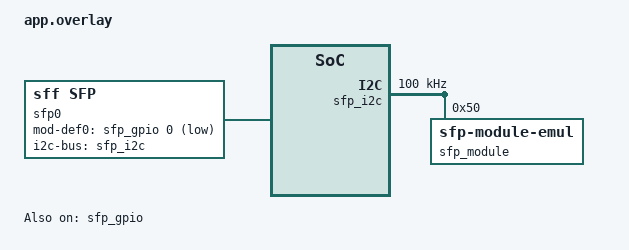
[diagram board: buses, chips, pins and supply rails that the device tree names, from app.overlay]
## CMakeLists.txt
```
# Copyright The Zephyr Project Contributors
#
# SPDX-License-Identifier: Apache-2.0

cmake_minimum_required(VERSION 3.20.0)
find_package(Zephyr REQUIRED HINTS $ENV{ZEPHYR_BASE})
project(sfp)

target_sources(app PRIVATE src/main.c)
```

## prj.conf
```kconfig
CONFIG_ZTEST=y
CONFIG_I2C=y
CONFIG_I2C_EMUL=y
CONFIG_EMUL=y
CONFIG_GPIO=y
CONFIG_GPIO_EMUL=y

CONFIG_SFP=y
CONFIG_SFP_SFF8472=y
CONFIG_EMUL_SFF8472=y

CONFIG_SFP_SHELL=y
CONFIG_SHELL=y
CONFIG_SHELL_BACKEND_SERIAL=n
CONFIG_SHELL_BACKEND_DUMMY=y
```

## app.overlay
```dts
/*
 * Copyright The Zephyr Project Contributors
 *
 * SPDX-License-Identifier: Apache-2.0
 */

#include <zephyr/dt-bindings/gpio/gpio.h>
#include <zephyr/dt-bindings/i2c/i2c.h>

/ {
	sfp0: sfp-cage {
		compatible = "sff,sfp";
		i2c-bus = <&sfp_i2c>;
		mod-def0-gpios = <&sfp_gpio 0 GPIO_ACTIVE_LOW>;
		status = "okay";
	};

	sfp_i2c: i2c@100 {
		compatible = "zephyr,i2c-emul-controller";
		reg = <0x100 4>;
		clock-frequency = <I2C_BITRATE_STANDARD>;
		#address-cells = <1>;
		#size-cells = <0>;
		status = "okay";

		/* the module plugged into the cage */
		sfp_module: sfp-module@50 {
			compatible = "zephyr,sfp-module-emul";
			reg = <0x50>;
			status = "okay";
		};
	};

	sfp_gpio: gpio@200 {
		compatible = "zephyr,gpio-emul";
		reg = <0x200 4>;
		gpio-controller;
		#gpio-cells = <2>;
		ngpios = <8>;
		status = "okay";
	};
};
```

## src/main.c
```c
/*
 * Copyright The Zephyr Project Contributors
 *
 * SPDX-License-Identifier: Apache-2.0
 */

#include <string.h>

#include <zephyr/device.h>
#include <zephyr/drivers/emul.h>
#include <zephyr/drivers/gpio/gpio_emul.h>
#include <zephyr/drivers/sfp.h>
#include <zephyr/sff/sff8472.h>
#include <zephyr/shell/shell.h>
#include <zephyr/shell/shell_dummy.h>
#include <zephyr/sys/util.h>
#include <zephyr/ztest.h>

#include "emul_sff8472.h"

#define SFP_NODE DT_NODELABEL(sfp0)

static const struct device *const sfp_dev = DEVICE_DT_GET(SFP_NODE);
static const struct emul *const module_emul = EMUL_DT_GET(DT_NODELABEL(sfp_module));
static const struct device *const presence_port = DEVICE_DT_GET(DT_NODELABEL(sfp_gpio));
static const gpio_pin_t presence_pin = DT_GPIO_PIN(SFP_NODE, mod_def0_gpios);

/* MOD_DEF0 is grounded by an inserted module (active low). */
static void set_module_present(bool present)
{
	zassert_ok(gpio_emul_input_set(presence_port, presence_pin, present ? 0 : 1));
}

static void set_diag_mon_type(uint8_t value)
{
	zassert_ok(emul_sff8472_set_byte(module_emul, false, SFF8472_A0_DIAG_MON_TYPE, value));
}

static void *sfp_setup(void)
{
	const struct shell *sh = shell_backend_dummy_get_ptr();

	if (IS_ENABLED(CONFIG_USERSPACE)) {
		k_object_access_all_grant(sfp_dev);
	}

	WAIT_FOR(shell_ready(sh), 20000, k_msleep(1));
	zassert_true(shell_ready(sh), "dummy shell backend not ready");

	return NULL;
}

static void sfp_after(void *fixture)
{
	ARG_UNUSED(fixture);

	set_module_present(true);
	emul_sff8472_reset(module_emul);
}

ZTEST(sfp, test_device_ready)
{
	zassert_true(device_is_ready(sfp_dev));
}

ZTEST_USER(sfp, test_read_id)
{
	struct sff8472_id id;

	zassert_ok(sfp_read_id(sfp_dev, &id));
	zassert_equal(id.identifier, SFF8472_ID_SFP);
	zassert_equal(id.connector, 0x07U);
	zassert_equal(id.wavelength_nm, 850U);
	zassert_equal(id.br_nominal_mbd, 10300U);
	zassert_equal(strcmp(id.vendor_name, "ACME PHOTONICS"), 0, "got '%s'", id.vendor_name);
	zassert_equal(strcmp(id.vendor_pn, "ACME-10G-SR"), 0, "got '%s'", id.vendor_pn);
	zassert_equal(strcmp(id.vendor_sn, "SN12345678"), 0, "got '%s'", id.vendor_sn);
	zassert_true(id.ddm_supported);
	zassert_true(id.ddm_internally_calibrated);
}

ZTEST_USER(sfp, test_read_diagnostics)
{
	struct sff8472_diagnostics diag;

	zassert_ok(sfp_read_diagnostics(sfp_dev, &diag));
	zassert_equal(diag.temp_mdegc, 45500, "got %d", diag.temp_mdegc);
	zassert_equal(diag.vcc_uv, 3300000U, "got %u", diag.vcc_uv);
	zassert_equal(diag.tx_bias_ua, 6500U, "got %u", diag.tx_bias_ua);
	zassert_equal(diag.tx_power_nw, 500000U, "got %u", diag.tx_power_nw);
	zassert_equal(diag.rx_power_nw, 400000U, "got %u", diag.rx_power_nw);
	zassert_equal(diag.alarm_flags,
		      SFF8472_FLAG_TEMP_HIGH | SFF8472_FLAG_TX_BIAS_HIGH |
		      SFF8472_FLAG_RX_POWER_LOW,
		      "got 0x%04x", diag.alarm_flags);
	zassert_equal(diag.warning_flags, SFF8472_FLAG_VCC_LOW, "got 0x%04x", diag.warning_flags);
}

ZTEST(sfp, test_empty_cage)
{
	struct sff8472_id id;
	struct sff8472_diagnostics diag;

	set_module_present(false);
	zassert_equal(sfp_read_id(sfp_dev, &id), -ENODEV);
	zassert_equal(sfp_read_diagnostics(sfp_dev, &diag), -ENODEV);

	set_module_present(true);
	zassert_ok(sfp_read_id(sfp_dev, &id));
}

ZTEST(sfp, test_unsupported_diagnostics)
{
	struct sff8472_diagnostics diag;
	struct sff8472_id id;

	/* externally calibrated: raw values would look valid but are not */
	set_diag_mon_type(SFF8472_DIAG_MON_DDM_IMPLEMENTED | SFF8472_DIAG_MON_EXT_CAL);
	zassert_equal(sfp_read_diagnostics(sfp_dev, &diag), -ENOTSUP);
	zassert_ok(sfp_read_id(sfp_dev, &id));
	zassert_true(id.ddm_externally_calibrated);

	/* A2h only reachable after an address change sequence */
	set_diag_mon_type(SFF8472_DIAG_MON_DDM_IMPLEMENTED | SFF8472_DIAG_MON_INT_CAL |
			  SFF8472_DIAG_MON_ADDR_CHANGE);
	zassert_equal(sfp_read_diagnostics(sfp_dev, &diag), -ENOTSUP);

	/* no diagnostics at all */
	set_diag_mon_type(0U);
	zassert_equal(sfp_read_diagnostics(sfp_dev, &diag), -ENOTSUP);
}

ZTEST(sfp, test_shell_keeps_sign_below_zero)
{
	const struct shell *sh = shell_backend_dummy_get_ptr();
	const char *out;
	size_t size;

	/* -0.5 C is 0xFF80 in 1/256 C */
	zassert_ok(emul_sff8472_set_byte(module_emul, true, SFF8472_A2_TEMP, 0xFFU));
	zassert_ok(emul_sff8472_set_byte(module_emul, true, SFF8472_A2_TEMP + 1U, 0x80U));

	shell_backend_dummy_clear_output(sh);
	zassert_ok(shell_execute_cmd(sh, "sfp ddm " DEVICE_DT_NAME(SFP_NODE)));
	out = shell_backend_dummy_get_output(sh, &size);
	zassert_not_null(strstr(out, "Temperature: -0.500 C"), "output:\n%s", out);
	zassert_not_null(strstr(out, "TX power   : 0.500 mW"), "output:\n%s", out);
	zassert_not_null(strstr(out, "TX bias    : 6.500 mA"), "output:\n%s", out);
}

ZTEST_SUITE(sfp, NULL, sfp_setup, NULL, sfp_after, NULL);
```
